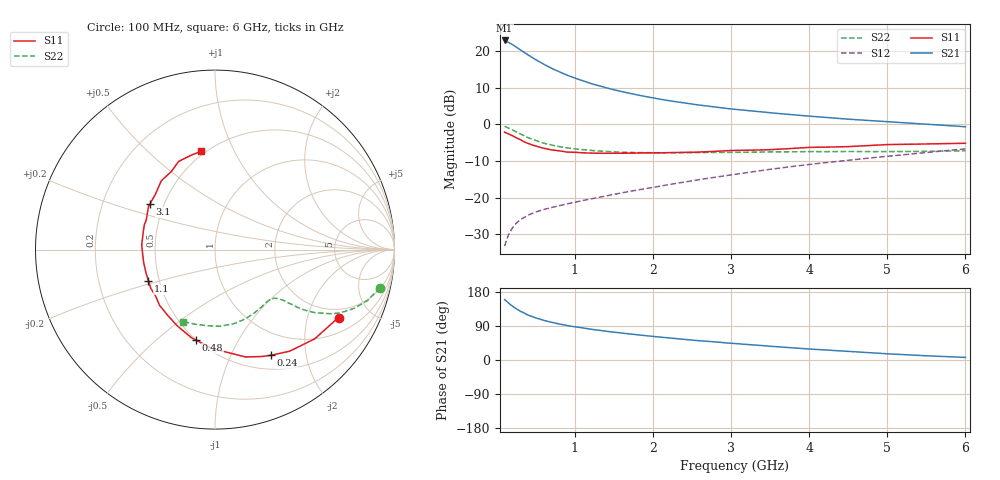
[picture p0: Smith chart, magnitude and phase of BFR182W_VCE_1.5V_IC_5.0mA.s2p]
! Infineon Technologies  Discrete & RF Semiconductors
! BFR182W
! VCE =  1.5 V,  IC =  5.0 mA
! Common Emitter S-Parameters:  Nov 2015
# GHz  S  MA  R  50
!  f  S11  S21  S12  S22
! GHz  MAG  ANG  MAG  ANG  MAG  ANG  MAG  ANG
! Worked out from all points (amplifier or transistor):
!   192 points, 100 MHz to 6 GHz, reference 50 ohm
!   highest |S21| = 22.9 dB at 100 MHz (marker M1)
!   |S21| within 3 dB of that: start of sweep to 332.1 MHz
!   unconditionally stable (mu >= 1): 1.308 GHz to 2.945 GHz
!   at 440 MHz: K = 0.52, MSG = 21.4 dB, |S12| = -24.4 dB
!   at 1.7 GHz: K = 1.06, MAG = 11.9 dB, |S12| = -18.3 dB
!   at 6 GHz: K = 0.79, MSG = 3.0 dB, |S12| = -6.7 dB
!   S11 on the Smith chart (normalised r, x): 100 MHz: 1.59, -3.15; 240 MHz: 0.68, -1.43; 480 MHz: 0.50, -0.68; 1.1 GHz: 0.44, -0.18; 3.1 GHz: 0.42, +0.26; 6 GHz: 0.48, +0.75
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0.1  0.7855 -28.8  14.01 159.4  0.0218 75.2  0.943 -13.0
0.15  0.7453 -41.9  13.21 150.1  0.0312 69.8  0.8967 -18.4
0.2  0.7024 -53.7  12.32 141.9  0.0387 64.8  0.8438 -22.7
0.24  0.6655 -62.3  11.55 136.4  0.0437 61.4  0.8006 -25.5
0.3  0.6219 -74.1  10.46 128.8  0.0499 58.0  0.7429 -28.8
0.4  0.552 -91.4  8.889 118.5  0.0578 54.2  0.6603 -32.2
0.48  0.5146 -102.0  7.866 112.6  0.0626 52.3  0.6119 -33.7
0.5  0.5083 -104.9  7.626 110.9  0.0638 51.9  0.5999 -34.1
0.6  0.4736 -116.5  6.636 104.6  0.0691 51.7  0.5548 -35.1
0.7  0.4504 -126.2  5.837 99.3  0.0733 51.9  0.5225 -35.6
0.8  0.4379 -134.9  5.224 94.9  0.0779 52.3  0.4974 -36.2
0.9  0.4199 -142.1  4.699 91.0  0.0825 53.1  0.4781 -36.4
1.1  0.4102 -154.6  3.957 84.7  0.0915 54.8  0.4525 -37.5
1.2  0.4067 -160.2  3.634 81.3  0.0962 55.7  0.4414 -38.1
1.5  0.4035 -172.7  2.973 73.4  0.1109 58.3  0.4225 -40.3
1.8  0.409 176.6  2.525 66.5  0.1273 60.7  0.4127 -42.8
2.08  0.4105 167.9  2.224 60.7  0.1431 62.2  0.4104 -46.2
2.5  0.4162 157.3  1.892 52.4  0.17 63.5  0.4116 -51.2
3.1  0.4427 145.0  1.589 42.6  0.2124 63.8  0.4166 -60.5
4.1  0.4877 126.2  1.274 27.8  0.2923 60.7  0.4254 -78.2
5.1  0.5328 110.7  1.073 15.4  0.3768 55.1  0.4263 -97.8
6  0.5535 97.9  0.93 6.8  0.464 49.0  0.4376 -113.7
